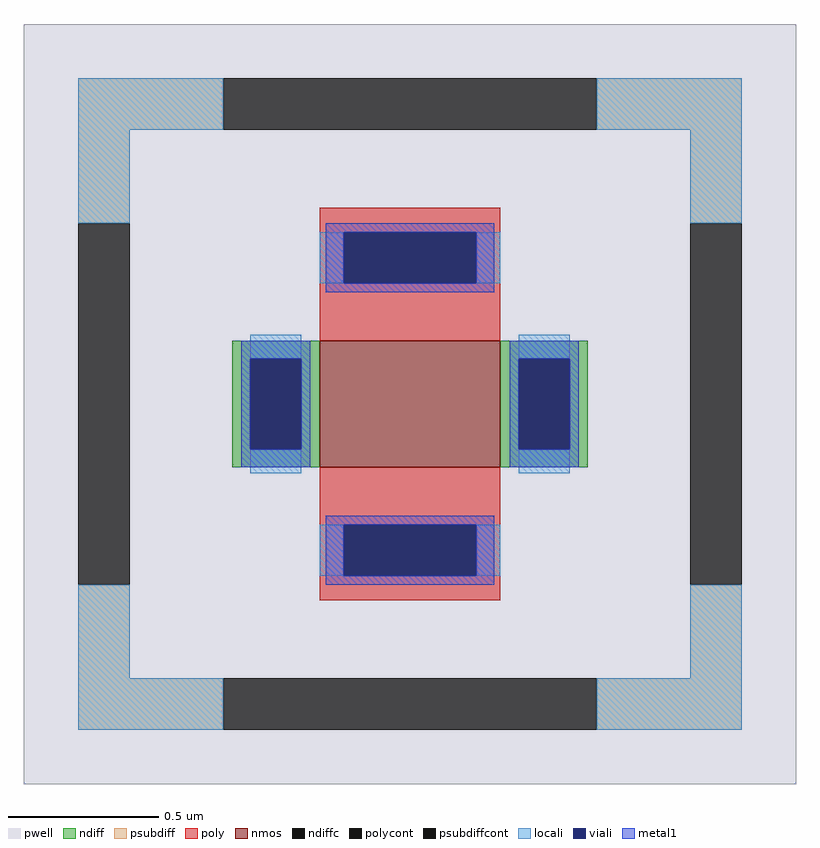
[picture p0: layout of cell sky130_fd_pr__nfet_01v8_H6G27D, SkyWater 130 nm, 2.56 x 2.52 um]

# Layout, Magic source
magic
tech sky130A
<< pwell >>
rect -128 -126 128 126
<< nmos >>
rect -30 -21 30 21
<< ndiff >>
rect -59 15 -30 21
rect -59 -15 -53 15
rect -36 -15 -30 15
rect -59 -21 -30 -15
rect 30 15 59 21
rect 30 -15 36 15
rect 53 -15 59 15
rect 30 -21 59 -15
<< ndiffc >>
rect -53 -15 -36 15
rect 36 -15 53 15
<< psubdiff >>
rect -110 91 -62 108
rect 62 91 110 108
rect -110 60 -93 91
rect 93 60 110 91
rect -110 -91 -93 -60
rect 93 -91 110 -60
rect -110 -108 -62 -91
rect 62 -108 110 -91
<< psubdiffcont >>
rect -62 91 62 108
rect -110 -60 -93 60
rect 93 -60 110 60
rect -62 -108 62 -91
<< poly >>
rect -30 57 30 65
rect -30 40 -22 57
rect 22 40 30 57
rect -30 21 30 40
rect -30 -40 30 -21
rect -30 -57 -22 -40
rect 22 -57 30 -40
rect -30 -65 30 -57
<< polycont >>
rect -22 40 22 57
rect -22 -57 22 -40
<< locali >>
rect -110 91 -62 108
rect 62 91 110 108
rect -110 60 -93 91
rect 93 60 110 91
rect -30 40 -22 57
rect 22 40 30 57
rect -53 15 -36 23
rect -53 -23 -36 -15
rect 36 15 53 23
rect 36 -23 53 -15
rect -30 -57 -22 -40
rect 22 -57 30 -40
rect -110 -91 -93 -60
rect 93 -91 110 -60
rect -110 -108 -62 -91
rect 62 -108 110 -91
<< viali >>
rect -22 40 22 57
rect -53 -15 -36 15
rect 36 -15 53 15
rect -22 -57 22 -40
<< metal1 >>
rect -28 57 28 60
rect -28 40 -22 57
rect 22 40 28 57
rect -28 37 28 40
rect -56 15 -33 21
rect -56 -15 -53 15
rect -36 -15 -33 15
rect -56 -21 -33 -15
rect 33 15 56 21
rect 33 -15 36 15
rect 53 -15 56 15
rect 33 -21 56 -15
rect -28 -40 28 -37
rect -28 -57 -22 -40
rect 22 -57 28 -40
rect -28 -60 28 -57
<< properties >>
string FIXED_BBOX -101 -99 101 99
string gencell sky130_fd_pr__nfet_01v8
string library sky130
string parameters w 0.42 l 0.6 m 1 nf 1 diffcov 100 polycov 100 guard 1 glc 1 grc 1 gtc 1 gbc 1 tbcov 100 rlcov 100 topc 1 botc 1 poverlap 0 doverlap 1 lmin 0.15 wmin 0.42 compatible {sky130_fd_pr__nfet_01v8 sky130_fd_pr__nfet_01v8_lvt  sky130_fd_bs_flash__special_sonosfet_star  sky130_fd_pr__nfet_g5v0d10v5 sky130_fd_pr__nfet_05v0_nvt  sky130_fd_pr__nfet_03v3_nvt} full_metal 1 viasrc 100 viadrn 100 viagate 100 viagb 0 viagr 0 viagl 0 viagt 0
<< end >>
